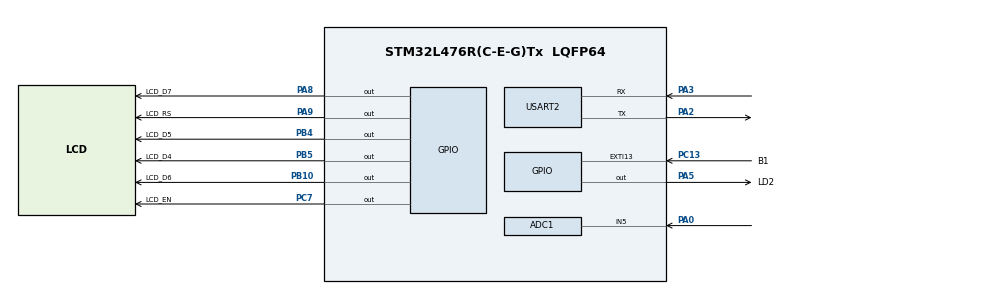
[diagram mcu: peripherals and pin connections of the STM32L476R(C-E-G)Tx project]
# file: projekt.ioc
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ADC1.Channel-0\#ChannelRegularConversion=ADC_CHANNEL_5
ADC1.NbrOfConversionFlag=1
ADC1.OffsetNumber-0\#ChannelRegularConversion=ADC_OFFSET_NONE
ADC1.Rank-0\#ChannelRegularConversion=1
ADC1.SamplingTime-0\#ChannelRegularConversion=ADC_SAMPLETIME_2CYCLES_5
ADC1.master=1
Mcu.Family=STM32L4
Mcu.Name=STM32L476R(C-E-G)Tx
Mcu.Package=LQFP64
NVIC.EXTI15_10_IRQn=true\:0\:0\:false\:false\:true\:true\:true\:true
NVIC.PriorityGroup=NVIC_PRIORITYGROUP_4
PA0.Signal=ADCx_IN5
PA2.Mode=Asynchronous
PA2.Signal=USART2_TX
PA3.Mode=Asynchronous
PA3.Signal=USART2_RX
PA5.GPIO_Label=LD2
PA5.Signal=GPIO_Output
PA8.GPIO_Label=LCD_D7
PA8.Signal=GPIO_Output
PA9.GPIO_Label=LCD_RS
PA9.Signal=GPIO_Output
PB10.GPIO_Label=LCD_D6
PB10.Signal=GPIO_Output
PB4\ (NJTRST).GPIO_Label=LCD_D5
PB4\ (NJTRST).Signal=GPIO_Output
PB5.GPIO_Label=LCD_D4
PB5.Signal=GPIO_Output
PC13.GPIO_Label=B1
PC13.Signal=GPXTI13
PC14-OSC32_IN\ (PC14).Mode=LSE-External-Oscillator
PC14-OSC32_IN\ (PC14).Signal=RCC_OSC32_IN
PC15-OSC32_OUT\ (PC15).Mode=LSE-External-Oscillator
PC15-OSC32_OUT\ (PC15).Signal=RCC_OSC32_OUT
PC7.GPIO_Label=LCD_EN
PC7.Signal=GPIO_Output
PH0-OSC_IN\ (PH0).Mode=HSE-External-Oscillator
PH0-OSC_IN\ (PH0).Signal=RCC_OSC_IN
PH1-OSC_OUT\ (PH1).Mode=HSE-External-Oscillator
PH1-OSC_OUT\ (PH1).Signal=RCC_OSC_OUT
ProjectManager.HeapSize=0x200
ProjectManager.StackSize=0x400
ProjectManager.TargetToolchain=STM32CubeIDE
RCC.ADCFreq_Value=32000000
RCC.HSE_VALUE=8000000
RCC.HSI_VALUE=16000000
RCC.MSI_VALUE=4000000
RCC.PLLSAI1N=16
RCC.USBFreq_Value=32000000
RCC.VCOOutputFreq_Value=32000000
RTC.Date=9
RTC.Hours=12
RTC.Minutes=58
RTC.Month=RTC_MONTH_JANUARY
RTC.Seconds=10
RTC.WeekDay=RTC_WEEKDAY_TUESDAY
RTC.Year=24
SH.ADCx_IN5.0=ADC1_IN5,IN5-Single-Ended
USART2.OverrunDisableParam=ADVFEATURE_OVERRUN_DISABLE
USART2.VirtualMode-Asynchronous=VM_ASYNC
VP_RTC_VS_RTC_Activate.Mode=RTC_Enabled
VP_RTC_VS_RTC_Calendar.Mode=RTC_Calendar
board=custom

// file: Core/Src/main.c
/* USER CODE BEGIN Header */
/**
  ******************************************************************************
  * @file           : main.c
  * @brief          : Main program body
  ******************************************************************************
  * @attention
  *
  * Copyright (c) 2023 STMicroelectronics.
  * All rights reserved.
  *
  * This software is licensed under terms that can be found in the LICENSE file
  * in the root directory of this software component.
  * If no LICENSE file comes with this software, it is provided AS-IS.
  *
  ******************************************************************************
  */
/* USER CODE END Header */
#include "main.h"

/* USER CODE BEGIN Includes */

#include "lcd.h"
#include "LCD_Keypad.h"
#include "stdio.h"
#include <stdio.h>
#include "stdlib.h"
#include "string.h"
/* USER CODE END Includes */

ADC_HandleTypeDef hadc1;

RTC_HandleTypeDef hrtc;

UART_HandleTypeDef huart2;

void SystemClock_Config(void);
static void MX_GPIO_Init(void);
static void MX_ADC1_Init(void);
static void MX_RTC_Init(void);
static void MX_USART2_UART_Init(void);

/* USER CODE BEGIN 0 */
int __io_putchar(int ch)
{
  if (ch == '\n') {
    __io_putchar('\r');
  }

  HAL_UART_Transmit(&huart2, (uint8_t*)&ch, 1, HAL_MAX_DELAY);

  return 1;
}

typedef struct tevent{
	int id;
  int day;
  int month;
  int year;
  int hour;
  int minutes;
  int hour_k;
  int minutes_k;
  char description[17];
}event;

typedef struct tnode
{
	event data;
	struct tnode* next;
}node;

node** element;

void list_add_event(node** element, event* e)
{
	node* n = (node*)malloc(sizeof(node));
	n->data = *e;
	n->next = *element;
	*element = n;
}

void list_print(node* element)
{
	while(element)
	{
		printf("%d %s %d/%d/%d %d:%d-%d:%d \n", element->data.id,element->data.description,element->data.day,element->data.month,element->data.year,element->data.hour,element->data.minutes,element->data.hour_k,element->data.minutes_k);
		element = element->next;
	}

}

void list_remove_by_id(node** element,int event_id)
{
	if(*element == NULL)
	{
		return;
	}
	node* prev = NULL;
	node* curr = *element;
	while(curr)
	{
		if(curr->data.id == event_id)
		{
			if(prev)
			{
				prev->next = curr->next;
			}
			else {
				*element = (*element)->next;
			}
			node *tmp = curr;
			curr = curr->next;
			free(tmp);
		}
		else {
			prev = curr;
			curr = curr->next;
		}
	}
}

event* list_find_by_id(node* element, int event_id) {
    while (element) {
        if (element->data.id == event_id)
            return &element->data;
        element = element->next;
    }
    return NULL;
}

#define LINE_MAX_LENGTH	80

static char line_buffer[LINE_MAX_LENGTH + 1];
static uint32_t line_length;

void line_append(uint8_t value)
{
	if (value == '\r' || value == '\n') {
		// odebraliśmy znak końca linii
		if (line_length > 0) {
			// jeśli bufor nie jest pusty to dodajemy 0 na końcu linii
			line_buffer[line_length] = '\0';
			// przetwarzamy dane
			printf("Otrzymano: %s\n", line_buffer);
			// zaczynamy zbieranie danych od nowa
			line_length = 0;
		}
	}
	else {
		if (line_length >= LINE_MAX_LENGTH) {
			// za dużo danych, usuwamy wszystko co odebraliśmy dotychczas
			line_length = 0;
		}
		// dopisujemy wartość do bufora
		line_buffer[line_length++] = value;
	}
}

void read(const char* promt)
{
	printf("%s", promt);
	fflush(stdout);
	uint8_t value;

	while(1){
		if (HAL_UART_Receive(&huart2, &value, 1, 0) == HAL_OK){
			  line_append(value);
			  if (value == '\r' || value == '\n') break;
		}
	}

	fflush(stdin);
}

int check_free_time(node* element, int suma_min_p, int suma_min_k)
{
	while(element)
	{
		int sum_p = element->data.hour*60+element->data.minutes;
		int sum_k = element->data.hour_k*60+element->data.minutes_k;
		if((suma_min_p>=sum_p && suma_min_p <=sum_k) )
		{
			return 1;
		}
		element = element->next;
	}
	return 0;
}

void add_event(node** element)
{
	uint8_t value;
	event e;
	int suma_min_p,suma_min_k;
	do{
		read("\nPodaj id osoby> ");
		e.id = atoi(line_buffer);
		strcpy(line_buffer, "");
	}while(e.id < 1);

	do{
		read("\nPodaj nazwe eventu> ");
		for (int i = 0; line_buffer[i] != '\0'; i++)
			e.description[i] = line_buffer[i];

		strcpy(line_buffer, "");
		if (strlen(e.description)<3)
			printf("Zbyt krotka nazwa wydarzenia \n");
	}while(strlen(e.description)<3);

	do{
		read("\nPodaj dzien> ");
		e.day = atoi(line_buffer);
		strcpy(line_buffer, "");
		if (e.day <1 || e.day>31)
			printf("Nie ma takiego dnia \n");
	}while(e.day <1 || e.day>31);

	do{
		read("\nPodaj miesiac> ");
		e.month = atoi(line_buffer);
		strcpy(line_buffer, "");
		if (e.month<1 || e.month>12)
			printf("Nie ma takiego miesiaca \n");
	}while(e.month<1 || e.month>12);
	do{
		read("\nPodaj rok> ");
		e.year = atoi(line_buffer);
		strcpy(line_buffer, "");
	}while(e.year<2024);
	int x=0;
	do{
		do{
	      read("\nPodaj godzine> ");
	      e.hour = atoi(line_buffer);
	      strcpy(line_buffer, "");
	      if(e.hour>23 || e.hour<0)
	    	  printf("Niewlasciwa godzina \n");
	     }while(e.hour>23 || e.hour<0);
	    do{
	      read("\nPodaj minute ");
	      e.minutes = atoi(line_buffer);
	      strcpy(line_buffer, "");
	      if(e.minutes>59 || e.minutes<0)
	      	  printf("Niewlasciwa minuta \n");
	     } while(e.minutes>59 || e.minutes<0);
	    suma_min_p = e.hour*60+e.minutes;

	 do
	    {
	    do{
	      read("\nPodaj godzine konca> ");
	      e.hour_k = atoi(line_buffer);
	      strcpy(line_buffer, "");
	      if(e.hour_k>23 || e.hour_k<0)
	    	  printf("Niewlasciwa godzina \n");
	     } while(e.hour_k>23 || e.hour_k<0);
	    do{
	      read("\nPodaj minute konca> ");
	      e.minutes_k = atoi(line_buffer);
	      strcpy(line_buffer, "");
	      if(e.minutes_k>59 || e.minutes_k<0)
	      	  printf("Niewlasciwa minuta \n");
	     } while(e.minutes_k>59 || e.minutes_k<0);
	      suma_min_k = e.hour_k*60+e.minutes_k;
	      if(suma_min_p>suma_min_k)
	    	  printf("Czas konca wydarzenia jest mniejszy niz jego poczatek \n");
	    }while(suma_min_p>suma_min_k);
	 x = check_free_time(*element, suma_min_p,suma_min_k);
	 if(x == 1)
		 printf("Zajety termin \n");
	}while(x==1);

	list_add_event(element, &e);
	printf("\nEvent o id: %d zostala dodana\n",e.id);
}

void remove_event(node** element)
{
	int event_id;
	read("\nPodaj id osoby> ");
	event_id = atoi(line_buffer);
	strcpy(line_buffer, "");

	event* e = list_find_by_id(*element, event_id);
	  if(e == NULL)
	  {
	    printf("Brak wydarzenia o id: %d\n",event_id);
	    return;
	  }
	  list_remove_by_id(element, event_id);
	  printf("usunieta wydarzenie o id %d\n", event_id);
}

void edit_event(node* element)
{
  int id;
  char tab[17];
  int zmienna;
  int suma_min_p,suma_min_k;
  read("\nPodaj id osoby> ");
  id = atoi(line_buffer);
  strcpy(line_buffer, "");
  event *e = list_find_by_id(element, id);
  if(e == NULL)
  {
    printf("Brak wydarzenia o id: %d\n",id);
    return;
  }
  do{
  		read("\nPodaj nazwe eventu> ");
  		for (int i = 0; line_buffer[i] != '\0'; i++)
  			tab[i] = line_buffer[i];

  		strcpy(line_buffer, "");
  		if (strlen(tab)<3)
  			printf("Zbyt krotka nazwa wydarzenia \n");
  	}while(strlen(tab)<3);
  	strcpy(e->description,tab);

  	do{
  		read("\nPodaj dzien> ");
  		zmienna = atoi(line_buffer);
  		strcpy(line_buffer, "");
  		if (zmienna <1 || zmienna>31)
  			printf("Nie ma takiego dnia \n");
  	}while(zmienna <1 || zmienna>31);
  	e->day = zmienna;

  	do{
  		read("\nPodaj miesiac> ");
  		zmienna = atoi(line_buffer);
  		strcpy(line_buffer, "");
  		if (zmienna<1 || zmienna>12)
  			printf("Nie ma takiego miesiaca \n");
  	}while(zmienna<1 || zmienna>12);
  	e->month = zmienna;
  	do{
  		read("\nPodaj rok> ");
  		zmienna = atoi(line_buffer);
  		strcpy(line_buffer, "");
  	}while(zmienna<2024);
  	e->year = zmienna;

  	int x=0;
  	do{
  		do{
  		    read("\nPodaj godzine> ");
  		    zmienna = atoi(line_buffer);
  		    strcpy(line_buffer, "");
  		    if(zmienna>23 || zmienna<0)
  		    	  printf("Niewlasciwa godzina \n");
  		  }while(zmienna>23 || zmienna<0);
  		e->hour = zmienna;
  		  do{
  		      read("\nPodaj minute ");
  		      zmienna = atoi(line_buffer);
  		      strcpy(line_buffer, "");
  		      if(zmienna>59 || zmienna<0)
  		      	  printf("Niewlasciwa minuta \n");
  		     } while(zmienna>59 || zmienna<0);
  		  e->minutes = zmienna;
  		    suma_min_p = e->hour*60+e->minutes;

  		 do {
  		    do{
  		      read("\nPodaj godzine konca> ");
  		      zmienna = atoi(line_buffer);
  		      strcpy(line_buffer, "");
  		      if(zmienna>23 || zmienna<0)
  		    	  printf("Niewlasciwa godzina \n");
  		     } while(zmienna>23 || zmienna<0);
  		    e->hour_k = zmienna;
  		    do{
  		      read("\nPodaj minute konca> ");
  		      zmienna = atoi(line_buffer);
  		      strcpy(line_buffer, "");
  		      if(zmienna>59 || zmienna<0)
  		      	  printf("Niewlasciwa minuta \n");
  		     } while(zmienna>59 || zmienna<0);
  		    e->minutes_k = zmienna;
  		      suma_min_k = e->hour_k*60+e->minutes_k;
  		      if(suma_min_p>suma_min_k)
  		    	  printf("Czas konca wydarzenia jest mniejszy niz jego poczatek \n");
  		    }while(suma_min_p>suma_min_k);
  		 x = check_free_time(element, suma_min_p,suma_min_k);
  		 if(x == 1)
  			 printf("Zajety termin \n");
  		}while(x==1);

  printf("Zmodyfikowano dane wydarzenia o id: %d\n", e->id);
}

void menu(node** element){
	char ch;
	do{

		printf("\n1 Dodaj event\n");
		printf("2 wyswietl liste\n");
		printf("3 usun po id\n");
		printf("4 edytuj po id\n");
		printf("5 zapisz zmiany\n");
		//scanf("%d", &option);
		while(1){
			if (HAL_UART_Receive(&huart2, &ch, 1, 0) == HAL_OK){
				if(ch == '1' || ch == '2' || ch == '3' || ch == '4' || ch == '5') break;
			}
		}
		fflush(stdin);

		switch(ch)
		{
		case '1':
			add_event(element);
			break;
		case '2':
			list_print(*element);
			break;
		case '3':
			remove_event(element);
			break;
		case '4':
			edit_event(*element);
			break;
		case '5':
			return;
		default:
			printf("brak opcji");
			break;
		}

	} while(ch != '5');
}

void HAL_GPIO_EXTI_Callback(uint16_t GPIO_Pin){
  if(GPIO_Pin == B1_Pin)  menu(&element);
}

/* USER CODE END 0 */

int main(void)
{

  /* MCU Configuration--------------------------------------------------------*/

  /* Reset of all peripherals, Initializes the Flash interface and the Systick. */
  HAL_Init();

  /* Configure the system clock */
  SystemClock_Config();

  /* Initialize all configured peripherals */
  MX_GPIO_Init();
  MX_ADC1_Init();
  MX_RTC_Init();
  MX_USART2_UART_Init();
  /* USER CODE BEGIN 2 */
  LCD_init();
  KPAD_init(&hadc1);
  HAL_ADC_Start(&hadc1);
  lcd_init(_LCD_4BIT,_LCD_FONT_5x8, _LCD_2LINE);

  RTC_TimeTypeDef RtcTime;
  RTC_DateTypeDef RtcDate;

  char tab[17];
  char description1[17];
  		char description2[17];
  char message[17];
  int flaga = 0;
  int stan=1;
  int minuta, godzina,suma_minut_p, suma_minut_k, suma_minut_zegara;
  /* USER CODE END 2 */

  /* Infinite loop */
  while (1)
  {
    /* USER CODE BEGIN 3 */
     HAL_ADC_Start(&hadc1);
	 HAL_Delay(1000);
	  if (HAL_ADC_PollForConversion(&hadc1, 10) == HAL_OK)
	  {
		 if(KPAD_IsKeyPressed()){
		  	 int buttonState2 = KPAD_getkey();
		  	 if(buttonState2 == KPAD_KEYRIGHT){
		  		 if(stan ==1)
		  			 stan = 0;
		  	  	  else
		  	  			stan =1;
		  	  	}
		    }
		if(stan ==0){
			lcd_clear();
		    node* current2 = element;
		    while(current2){
		 		  strcpy(description2,current2->data.description);
		 		  lcd_print(1, 1, description1);
		 		  lcd_print(2, 1,description2);
		 		  if(KPAD_IsKeyPressed()){
		 		 	int buttonState3 = KPAD_getkey();
		 		 	if(buttonState3 == KPAD_KEYDOWN){
		 		 		current2 = current2->next;
		 		 	 	strcpy(description1 ,description2);
		 		 	 	if (current2 == NULL) {
		 		 	 		current2 = element;
		 		 	 	}
		 		 	}else if(buttonState3 == KPAD_KEYRIGHT)
		 		 	{
		 		 		stan=1;
		 		 		break;
		 		 	}
		 		  }
		    }
		 }
		 else if(stan == 1){
	    lcd_clear();
	    HAL_RTC_GetTime(&hrtc, &RtcTime, RTC_FORMAT_BIN);
	    HAL_RTC_GetDate(&hrtc, &RtcDate, RTC_FORMAT_BIN);

	    sprintf(tab, "%04d-%02d-%02d %02d:%02d", 2000 + RtcDate.Year, RtcDate.Month, RtcDate.Date, RtcTime.Hours, RtcTime.Minutes);
	    lcd_print(2, 1, tab);

	    node* current = element;
	  	while(current)
	  	{
	  		suma_minut_zegara = RtcTime.Hours*60+RtcTime.Minutes;
	  		suma_minut_p = current->data.hour*60+current->data.minutes;
	  		suma_minut_k = current->data.hour_k*60+current->data.minutes_k;
	  		minuta = current->data.minutes-1;
	  		godzina = current->data.hour;
	  		if (minuta < 0) {
	  		        minuta += 60;
	  		        godzina--;
	  		    }
	  		if(current->data.day == RtcDate.Date &&
	  	 	  	    	current->data.month == RtcDate.Month &&
	  	 				current->data.year == RtcDate.Year + 2000 &&
						suma_minut_k <= suma_minut_zegara){
	  			list_remove_by_id(&element, current->data.id);
	  			lcd_print(1, 1, "Zakonczono");
	  			HAL_Delay(1000);
	  			LCD_clear();
	  			 break;
	  		}

	  		 if (current->data.day == RtcDate.Date &&
	  			  	 	  	    	current->data.month == RtcDate.Month &&
	  			  	 				current->data.year == RtcDate.Year + 2000 &&
	  			  	 				suma_minut_p <= suma_minut_zegara &&
	  			  	 				suma_minut_k >= suma_minut_zegara) {

	  			 flaga = 1;
	  			  if(KPAD_IsKeyPressed()){
	  				  int buttonState = KPAD_getkey();
	  				  if(buttonState == KPAD_KEYSELECT){
	  					  list_remove_by_id(&element, current->data.id);
	  					  lcd_print(1, 1, "Zakonczono");
	  					  HAL_Delay(1000);
	  					  LCD_clear();
	  					  break;
	  				  }
	  			  }
	  		 }else if (current->data.day == RtcDate.Date &&
	  	    	current->data.month == RtcDate.Month &&
				current->data.year == RtcDate.Year + 2000 &&
				godzina == RtcTime.Hours &&
				minuta == RtcTime.Minutes) {
	  	    	flaga = 2;
	  	      }
	  		 else {
	  			 flaga = 0;
	  		 }

	  	    if(flaga == 1){
	  	    	lcd_print(1, 1, "TRWA: ");
	  	    	lcd_print(1, 7, current->data.description);

	  	    }else if(flaga == 2){
	  	    	lcd_print(1, 1, "PRZYP: ");
	  	    	lcd_print(1, 8, current->data.description);
	  	    }

	  	  current = current->next;
	  	 }
	  }
	 }

  }
  /* USER CODE END 3 */
}

void SystemClock_Config(void)
{
  RCC_OscInitTypeDef RCC_OscInitStruct = {0};
  RCC_ClkInitTypeDef RCC_ClkInitStruct = {0};

  /** Configure the main internal regulator output voltage
  */
  if (HAL_PWREx_ControlVoltageScaling(PWR_REGULATOR_VOLTAGE_SCALE1) != HAL_OK)
  {
    Error_Handler();
  }

  /** Configure LSE Drive Capability
  */
  HAL_PWR_EnableBkUpAccess();
  __HAL_RCC_LSEDRIVE_CONFIG(RCC_LSEDRIVE_LOW);

  /** Initializes the RCC Oscillators according to the specified parameters
  * in the RCC_OscInitTypeDef structure.
  */
  RCC_OscInitStruct.OscillatorType = RCC_OSCILLATORTYPE_LSI|RCC_OSCILLATORTYPE_LSE
                              |RCC_OSCILLATORTYPE_MSI;
  RCC_OscInitStruct.LSEState = RCC_LSE_ON;
  RCC_OscInitStruct.LSIState = RCC_LSI_ON;
  RCC_OscInitStruct.MSIState = RCC_MSI_ON;
  RCC_OscInitStruct.MSICalibrationValue = 0;
  RCC_OscInitStruct.MSIClockRange = RCC_MSIRANGE_6;
  RCC_OscInitStruct.PLL.PLLState = RCC_PLL_NONE;
  if (HAL_RCC_OscConfig(&RCC_OscInitStruct) != HAL_OK)
  {
    Error_Handler();
  }

  /** Initializes the CPU, AHB and APB buses clocks
  */
  RCC_ClkInitStruct.ClockType = RCC_CLOCKTYPE_HCLK|RCC_CLOCKTYPE_SYSCLK
                              |RCC_CLOCKTYPE_PCLK1|RCC_CLOCKTYPE_PCLK2;
  RCC_ClkInitStruct.SYSCLKSource = RCC_SYSCLKSOURCE_MSI;
  RCC_ClkInitStruct.AHBCLKDivider = RCC_SYSCLK_DIV1;
  RCC_ClkInitStruct.APB1CLKDivider = RCC_HCLK_DIV1;
  RCC_ClkInitStruct.APB2CLKDivider = RCC_HCLK_DIV1;

  if (HAL_RCC_ClockConfig(&RCC_ClkInitStruct, FLASH_LATENCY_0) != HAL_OK)
  {
    Error_Handler();
  }

  /** Enable MSI Auto calibration
  */
  HAL_RCCEx_EnableMSIPLLMode();
}

static void MX_ADC1_Init(void)
{

  ADC_MultiModeTypeDef multimode = {0};
  ADC_ChannelConfTypeDef sConfig = {0};

  /** Common config
  */
  hadc1.Instance = ADC1;
  hadc1.Init.ClockPrescaler = ADC_CLOCK_ASYNC_DIV1;
  hadc1.Init.Resolution = ADC_RESOLUTION_12B;
  hadc1.Init.DataAlign = ADC_DATAALIGN_RIGHT;
  hadc1.Init.ScanConvMode = ADC_SCAN_DISABLE;
  hadc1.Init.EOCSelection = ADC_EOC_SINGLE_CONV;
  hadc1.Init.LowPowerAutoWait = DISABLE;
  hadc1.Init.ContinuousConvMode = DISABLE;
  hadc1.Init.NbrOfConversion = 1;
  hadc1.Init.DiscontinuousConvMode = DISABLE;
  hadc1.Init.ExternalTrigConv = ADC_SOFTWARE_START;
  hadc1.Init.ExternalTrigConvEdge = ADC_EXTERNALTRIGCONVEDGE_NONE;
  hadc1.Init.DMAContinuousRequests = DISABLE;
  hadc1.Init.Overrun = ADC_OVR_DATA_PRESERVED;
  hadc1.Init.OversamplingMode = DISABLE;
  if (HAL_ADC_Init(&hadc1) != HAL_OK)
  {
    Error_Handler();
  }

  /** Configure the ADC multi-mode
  */
  multimode.Mode = ADC_MODE_INDEPENDENT;
  if (HAL_ADCEx_MultiModeConfigChannel(&hadc1, &multimode) != HAL_OK)
  {
    Error_Handler();
  }

  /** Configure Regular Channel
  */
  sConfig.Channel = ADC_CHANNEL_5;
  sConfig.Rank = ADC_REGULAR_RANK_1;
  sConfig.SamplingTime = ADC_SAMPLETIME_2CYCLES_5;
  sConfig.SingleDiff = ADC_SINGLE_ENDED;
  sConfig.OffsetNumber = ADC_OFFSET_NONE;
  sConfig.Offset = 0;
  if (HAL_ADC_ConfigChannel(&hadc1, &sConfig) != HAL_OK)
  {
    Error_Handler();
  }

}

static void MX_RTC_Init(void)
{

  RTC_TimeTypeDef sTime = {0};
  RTC_DateTypeDef sDate = {0};

  /** Initialize RTC Only
  */
  hrtc.Instance = RTC;
  hrtc.Init.HourFormat = RTC_HOURFORMAT_24;
  hrtc.Init.AsynchPrediv = 127;
  hrtc.Init.SynchPrediv = 255;
  hrtc.Init.OutPut = RTC_OUTPUT_DISABLE;
  hrtc.Init.OutPutRemap = RTC_OUTPUT_REMAP_NONE;
  hrtc.Init.OutPutPolarity = RTC_OUTPUT_POLARITY_HIGH;
  hrtc.Init.OutPutType = RTC_OUTPUT_TYPE_OPENDRAIN;
  if (HAL_RTC_Init(&hrtc) != HAL_OK)
  {
    Error_Handler();
  }

  /** Initialize RTC and set the Time and Date
  */
  sTime.Hours = 0x12;
  sTime.Minutes = 0x58;
  sTime.Seconds = 0x10;
  sTime.DayLightSaving = RTC_DAYLIGHTSAVING_NONE;
  sTime.StoreOperation = RTC_STOREOPERATION_RESET;
  if (HAL_RTC_SetTime(&hrtc, &sTime, RTC_FORMAT_BCD) != HAL_OK)
  {
    Error_Handler();
  }
  sDate.WeekDay = RTC_WEEKDAY_TUESDAY;
  sDate.Month = RTC_MONTH_JANUARY;
  sDate.Date = 0x9;
  sDate.Year = 0x24;

  if (HAL_RTC_SetDate(&hrtc, &sDate, RTC_FORMAT_BCD) != HAL_OK)
  {
    Error_Handler();
  }

}

static void MX_USART2_UART_Init(void)
{

  huart2.Instance = USART2;
  huart2.Init.BaudRate = 115200;
  huart2.Init.WordLength = UART_WORDLENGTH_8B;
  huart2.Init.StopBits = UART_STOPBITS_1;
  huart2.Init.Parity = UART_PARITY_NONE;
  huart2.Init.Mode = UART_MODE_TX_RX;
  huart2.Init.HwFlowCtl = UART_HWCONTROL_NONE;
  huart2.Init.OverSampling = UART_OVERSAMPLING_16;
  huart2.Init.OneBitSampling = UART_ONE_BIT_SAMPLE_DISABLE;
  huart2.AdvancedInit.AdvFeatureInit = UART_ADVFEATURE_RXOVERRUNDISABLE_INIT;
  huart2.AdvancedInit.OverrunDisable = UART_ADVFEATURE_OVERRUN_DISABLE;
  if (HAL_UART_Init(&huart2) != HAL_OK)
  {
    Error_Handler();
  }

}

static void MX_GPIO_Init(void)
{
  GPIO_InitTypeDef GPIO_InitStruct = {0};

  /* GPIO Ports Clock Enable */
  __HAL_RCC_GPIOC_CLK_ENABLE();
  __HAL_RCC_GPIOH_CLK_ENABLE();
  __HAL_RCC_GPIOA_CLK_ENABLE();
  __HAL_RCC_GPIOB_CLK_ENABLE();

  /*Configure GPIO pin Output Level */
  HAL_GPIO_WritePin(GPIOA, LD2_Pin|LCD_D7_Pin|LCD_RS_Pin, GPIO_PIN_RESET);

  /*Configure GPIO pin Output Level */
  HAL_GPIO_WritePin(GPIOB, LCD_D6_Pin|LCD_D5_Pin|LCD_D4_Pin, GPIO_PIN_RESET);

  /*Configure GPIO pin Output Level */
  HAL_GPIO_WritePin(LCD_EN_GPIO_Port, LCD_EN_Pin, GPIO_PIN_RESET);

  /*Configure GPIO pin : B1_Pin */
  GPIO_InitStruct.Pin = B1_Pin;
  GPIO_InitStruct.Mode = GPIO_MODE_IT_RISING;
  GPIO_InitStruct.Pull = GPIO_NOPULL;
  HAL_GPIO_Init(B1_GPIO_Port, &GPIO_InitStruct);

  /*Configure GPIO pins : LD2_Pin LCD_D7_Pin LCD_RS_Pin */
  GPIO_InitStruct.Pin = LD2_Pin|LCD_D7_Pin|LCD_RS_Pin;
  GPIO_InitStruct.Mode = GPIO_MODE_OUTPUT_PP;
  GPIO_InitStruct.Pull = GPIO_NOPULL;
  GPIO_InitStruct.Speed = GPIO_SPEED_FREQ_LOW;
  HAL_GPIO_Init(GPIOA, &GPIO_InitStruct);

  /*Configure GPIO pins : LCD_D6_Pin LCD_D5_Pin LCD_D4_Pin */
  GPIO_InitStruct.Pin = LCD_D6_Pin|LCD_D5_Pin|LCD_D4_Pin;
  GPIO_InitStruct.Mode = GPIO_MODE_OUTPUT_PP;
  GPIO_InitStruct.Pull = GPIO_NOPULL;
  GPIO_InitStruct.Speed = GPIO_SPEED_FREQ_LOW;
  HAL_GPIO_Init(GPIOB, &GPIO_InitStruct);

  /*Configure GPIO pin : LCD_EN_Pin */
  GPIO_InitStruct.Pin = LCD_EN_Pin;
  GPIO_InitStruct.Mode = GPIO_MODE_OUTPUT_PP;
  GPIO_InitStruct.Pull = GPIO_NOPULL;
  GPIO_InitStruct.Speed = GPIO_SPEED_FREQ_LOW;
  HAL_GPIO_Init(LCD_EN_GPIO_Port, &GPIO_InitStruct);

  /* EXTI interrupt init*/
  HAL_NVIC_SetPriority(EXTI15_10_IRQn, 0, 0);
  HAL_NVIC_EnableIRQ(EXTI15_10_IRQn);

}

void Error_Handler(void)
{
  __disable_irq();
  while (1)
  {
  }
}
